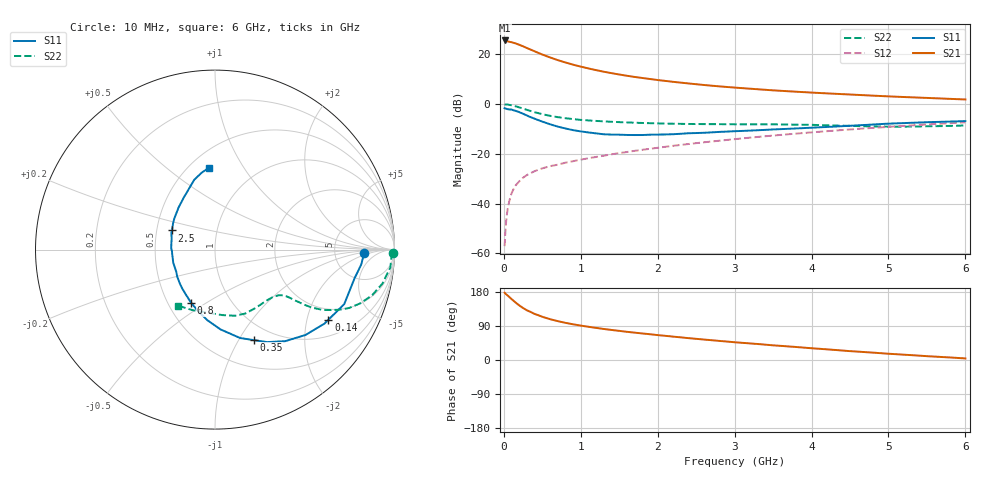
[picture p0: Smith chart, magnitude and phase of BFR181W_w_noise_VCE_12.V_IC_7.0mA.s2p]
! Infineon Technologies  Discrete & RF Semiconductors
! BFR181W
! VCE =  12. V,  IC =  7.0 mA
! Common Emitter S-Parameters:  Jan 2017
# GHz  S  MA  R  50
!  f  S11  S21  S12  S22
! GHz  MAG  ANG  MAG  ANG  MAG  ANG  MAG  ANG
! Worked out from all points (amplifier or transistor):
!   77 points, 10 MHz to 6 GHz, reference 50 ohm
!   highest |S21| = 25.6 dB at 10 MHz (marker M1)
!   |S21| within 3 dB of that: start of sweep to 296.8 MHz
!   unconditionally stable (mu >= 1): 1.252 GHz to 3.212 GHz
!   at 130 MHz: K = 0.22, MSG = 29.3 dB, |S12| = -33.9 dB
!   at 2.2 GHz: K = 1.06, MAG = 11.4 dB, |S12| = -16.7 dB
!   at 6 GHz: K = 0.85, MSG = 4.6 dB, |S12| = -7.3 dB
!   lowest NFmin = 1.08 dB at 450 MHz
!   S11 on the Smith chart (normalised r, x): 10 MHz: 11, -1; 140 MHz: 1.56, -2.71; 350 MHz: 0.80, -1.16; 800 MHz: 0.65, -0.43; 2.5 GHz: 0.60, +0.14; 6 GHz: 0.62, +0.71
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0.01  0.8308 -1.4  19.1 177.5  0.0014 87.4  0.9929 -1.1
0.02  0.8191 -5.8  18.85 175.1  0.0027 87.5  0.9841 -2.1
0.04  0.8015 -9.6  18.5 171.7  0.0061 82.9  0.9821 -4.6
0.1  0.7813 -22.9  17.63 160.7  0.016 78.4  0.9518 -11.5
0.14  0.7432 -31.7  16.89 153.9  0.0216 73.5  0.9186 -15.3
0.2  0.6934 -43.3  15.64 144.1  0.0281 69.7  0.8629 -20.3
0.25  0.6429 -52.5  14.57 137.2  0.0333 66.0  0.8155 -23.5
0.3  0.5916 -60.6  13.46 131.1  0.0377 63.2  0.7679 -25.9
0.35  0.5479 -66.9  12.46 126.7  0.0413 62.0  0.7287 -27.5
0.4  0.5119 -74.2  11.56 121.5  0.045 61.0  0.6902 -29.2
0.5  0.4465 -85.9  9.952 114.0  0.0513 59.2  0.6298 -30.9
0.6  0.3953 -96.3  8.712 107.8  0.0568 58.7  0.5842 -31.7
0.7  0.3547 -105.5  7.695 102.6  0.0608 59.1  0.549 -32.1
0.8  0.325 -114.2  6.903 98.1  0.0667 59.9  0.5233 -32.5
1.1  0.2704 -137.1  5.231 87.7  0.0819 61.4  0.4722 -33.3
1.5  0.244 -162.2  3.953 76.9  0.1038 62.9  0.4356 -35.7
2.1  0.2465 169.6  2.936 63.8  0.1392 63.7  0.4082 -42.7
2.5  0.2631 156.1  2.521 55.9  0.1648 63.1  0.3991 -48.9
3.1  0.2901 139.7  2.102 45.3  0.2053 61.0  0.3941 -58.4
4.1  0.3427 119.6  1.681 29.6  0.2789 55.7  0.3804 -75.2
5.1  0.4117 105.0  1.415 15.3  0.3581 48.3  0.3535 -99.2
6  0.4573 94.2  1.245 4.2  0.432 40.2  0.3736 -123.2
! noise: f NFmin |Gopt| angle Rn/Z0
0.45  1.08  0.24  17  0.22
0.9  1.13  0.22  31  0.21
1.9  1.55  0.09  86  0.19
2.4  1.7  0.08  96  0.23
